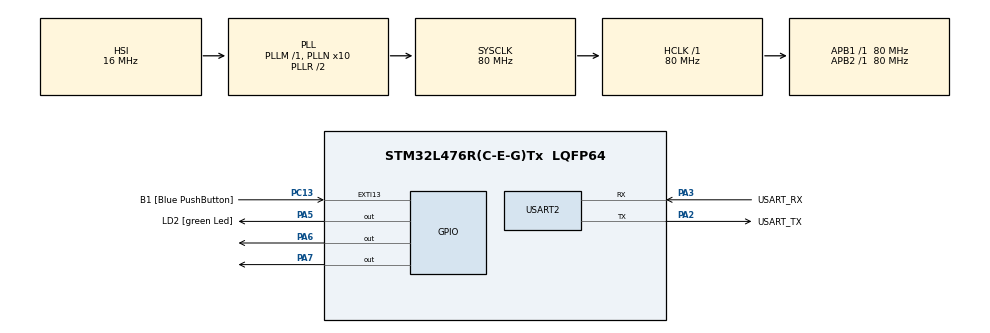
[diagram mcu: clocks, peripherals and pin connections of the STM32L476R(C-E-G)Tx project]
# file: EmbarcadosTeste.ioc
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Mcu.Family=STM32L4
Mcu.Name=STM32L476R(C-E-G)Tx
Mcu.Package=LQFP64
NVIC.PriorityGroup=NVIC_PRIORITYGROUP_4
PA13\ (JTMS-SWDIO).GPIO_Label=TMS
PA13\ (JTMS-SWDIO).Mode=Serial_Wire
PA13\ (JTMS-SWDIO).Signal=SYS_JTMS-SWDIO
PA14\ (JTCK-SWCLK).GPIO_Label=TCK
PA14\ (JTCK-SWCLK).Mode=Serial_Wire
PA14\ (JTCK-SWCLK).Signal=SYS_JTCK-SWCLK
PA2.GPIO_Label=USART_TX
PA2.GPIO_Mode=GPIO_MODE_AF_PP
PA2.GPIO_PuPd=GPIO_NOPULL
PA2.GPIO_Speed=GPIO_SPEED_FREQ_VERY_HIGH
PA2.Mode=Asynchronous
PA2.Signal=USART2_TX
PA3.GPIO_Label=USART_RX
PA3.GPIO_Mode=GPIO_MODE_AF_PP
PA3.GPIO_PuPd=GPIO_NOPULL
PA3.GPIO_Speed=GPIO_SPEED_FREQ_VERY_HIGH
PA3.Mode=Asynchronous
PA3.Signal=USART2_RX
PA5.GPIO_Label=LD2 [green Led]
PA5.GPIO_ModeDefaultOutputPP=GPIO_MODE_OUTPUT_PP
PA5.GPIO_PuPd=GPIO_NOPULL
PA5.GPIO_Speed=GPIO_SPEED_FREQ_LOW
PA5.Signal=GPIO_Output
PA6.Signal=GPIO_Output
PA7.Signal=GPIO_Output
PB3\ (JTDO-TRACESWO).GPIO_Label=SWO
PB3\ (JTDO-TRACESWO).Signal=SYS_JTDO-SWO
PC13.GPIO_Label=B1 [Blue PushButton]
PC13.GPIO_ModeDefaultEXTI=GPIO_MODE_IT_FALLING
PC13.GPIO_PuPd=GPIO_NOPULL
PC13.Signal=GPXTI13
PC14-OSC32_IN\ (PC14).Mode=LSE-External-Oscillator
PC14-OSC32_IN\ (PC14).Signal=RCC_OSC32_IN
PC15-OSC32_OUT\ (PC15).Mode=LSE-External-Oscillator
PC15-OSC32_OUT\ (PC15).Signal=RCC_OSC32_OUT
PH0-OSC_IN\ (PH0).Signal=RCC_OSC_IN
PH1-OSC_OUT\ (PH1).Signal=RCC_OSC_OUT
ProjectManager.HeapSize=0x200
ProjectManager.StackSize=0x400
ProjectManager.TargetToolchain=STM32CubeIDE
RCC.ADCFreq_Value=64000000
RCC.AHBFreq_Value=80000000
RCC.APB1Freq_Value=80000000
RCC.APB1TimFreq_Value=80000000
RCC.APB2Freq_Value=80000000
RCC.APB2TimFreq_Value=80000000
RCC.CortexFreq_Value=80000000
RCC.HCLKFreq_Value=80000000
RCC.HSE_VALUE=8000000
RCC.HSI_VALUE=16000000
RCC.MSI_VALUE=4000000
RCC.PLLN=10
RCC.PLLSourceVirtual=RCC_PLLSOURCE_HSI
RCC.PREFETCH_ENABLE=1
RCC.SYSCLKFreq_VALUE=80000000
RCC.SYSCLKSource=RCC_SYSCLKSOURCE_PLLCLK
RCC.USBFreq_Value=64000000
RCC.VCOOutputFreq_Value=160000000
USART2.VirtualMode-Asynchronous=VM_ASYNC
board=NUCLEO-L476RG

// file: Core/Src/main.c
/* USER CODE BEGIN Header */
/**
  ******************************************************************************
  * @file           : main.c
  * @brief          : Main program body
  ******************************************************************************
  * @attention
  *
  * Copyright (c) 2024 STMicroelectronics.
  * All rights reserved.
  *
  * This software is licensed under terms that can be found in the LICENSE file
  * in the root directory of this software component.
  * If no LICENSE file comes with this software, it is provided AS-IS.
  *
  ******************************************************************************
  */
/* USER CODE END Header */
#include "main.h"

UART_HandleTypeDef huart2;

void SystemClock_Config(void);
static void MX_GPIO_Init(void);
static void MX_USART2_UART_Init(void);

int main(void)
{

  /* MCU Configuration--------------------------------------------------------*/

  /* Reset of all peripherals, Initializes the Flash interface and the Systick. */
  HAL_Init();

  /* Configure the system clock */
  SystemClock_Config();

  /* Initialize all configured peripherals */
  MX_GPIO_Init();
  MX_USART2_UART_Init();

  /* Infinite loop */
  /* USER CODE BEGIN WHILE */
  while (1)
  {
	  char recebido;
	  if (HAL_UART_Receive(&huart2, &recebido, 1 , HAL_MAX_DELAY) ==HAL_OK)
	  {
		  switch(recebido){
		  case 'V':
		  case 'v':
			  HAL_GPIO_TogglePin(LD2_GPIO_Port, LD2_Pin);
			  HAL_UART_Transmit(&huart2, "led green Toggle\n\r", sizeof("led green Toggle\n\r"),HAL_MAX_DELAY);
			  break;
		  case 'Y':
		  case 'y':
			  HAL_GPIO_TogglePin(GPIOA, GPIO_PIN_6);
			  HAL_UART_Transmit(&huart2, "led yellow Toggle\n\r", sizeof("led yellow Toggle\n\r"),HAL_MAX_DELAY);
			  break;
		  case 'R':
		  case 'r':
			  if(!HAL_GPIO_ReadPin(B1_GPIO_Port, B1_Pin)){
			  	  HAL_UART_Transmit(&huart2, "B1 press\n\r", sizeof("B1 press\n\r"),HAL_MAX_DELAY);
			  	  break;
			  }else{
				  HAL_UART_Transmit(&huart2, "B1 not press\n\r", sizeof("B1 not press\n\r"),HAL_MAX_DELAY);
			  }
			  break;
		  default:
			  HAL_UART_Transmit(&huart2, "Invalid\n\r", sizeof("Invalid\n\r"),HAL_MAX_DELAY);

		  }
	  }

    /* USER CODE END WHILE */

  }
}

void SystemClock_Config(void)
{
  RCC_OscInitTypeDef RCC_OscInitStruct = {0};
  RCC_ClkInitTypeDef RCC_ClkInitStruct = {0};

  /** Configure the main internal regulator output voltage
  */
  if (HAL_PWREx_ControlVoltageScaling(PWR_REGULATOR_VOLTAGE_SCALE1) != HAL_OK)
  {
    Error_Handler();
  }

  /** Initializes the RCC Oscillators according to the specified parameters
  * in the RCC_OscInitTypeDef structure.
  */
  RCC_OscInitStruct.OscillatorType = RCC_OSCILLATORTYPE_HSI;
  RCC_OscInitStruct.HSIState = RCC_HSI_ON;
  RCC_OscInitStruct.HSICalibrationValue = RCC_HSICALIBRATION_DEFAULT;
  RCC_OscInitStruct.PLL.PLLState = RCC_PLL_ON;
  RCC_OscInitStruct.PLL.PLLSource = RCC_PLLSOURCE_HSI;
  RCC_OscInitStruct.PLL.PLLM = 1;
  RCC_OscInitStruct.PLL.PLLN = 10;
  RCC_OscInitStruct.PLL.PLLP = RCC_PLLP_DIV7;
  RCC_OscInitStruct.PLL.PLLQ = RCC_PLLQ_DIV2;
  RCC_OscInitStruct.PLL.PLLR = RCC_PLLR_DIV2;
  if (HAL_RCC_OscConfig(&RCC_OscInitStruct) != HAL_OK)
  {
    Error_Handler();
  }

  /** Initializes the CPU, AHB and APB buses clocks
  */
  RCC_ClkInitStruct.ClockType = RCC_CLOCKTYPE_HCLK|RCC_CLOCKTYPE_SYSCLK
                              |RCC_CLOCKTYPE_PCLK1|RCC_CLOCKTYPE_PCLK2;
  RCC_ClkInitStruct.SYSCLKSource = RCC_SYSCLKSOURCE_PLLCLK;
  RCC_ClkInitStruct.AHBCLKDivider = RCC_SYSCLK_DIV1;
  RCC_ClkInitStruct.APB1CLKDivider = RCC_HCLK_DIV1;
  RCC_ClkInitStruct.APB2CLKDivider = RCC_HCLK_DIV1;

  if (HAL_RCC_ClockConfig(&RCC_ClkInitStruct, FLASH_LATENCY_4) != HAL_OK)
  {
    Error_Handler();
  }
}

static void MX_USART2_UART_Init(void)
{

  huart2.Instance = USART2;
  huart2.Init.BaudRate = 115200;
  huart2.Init.WordLength = UART_WORDLENGTH_8B;
  huart2.Init.StopBits = UART_STOPBITS_1;
  huart2.Init.Parity = UART_PARITY_NONE;
  huart2.Init.Mode = UART_MODE_TX_RX;
  huart2.Init.HwFlowCtl = UART_HWCONTROL_NONE;
  huart2.Init.OverSampling = UART_OVERSAMPLING_16;
  huart2.Init.OneBitSampling = UART_ONE_BIT_SAMPLE_DISABLE;
  huart2.AdvancedInit.AdvFeatureInit = UART_ADVFEATURE_NO_INIT;
  if (HAL_UART_Init(&huart2) != HAL_OK)
  {
    Error_Handler();
  }

}

static void MX_GPIO_Init(void)
{
  GPIO_InitTypeDef GPIO_InitStruct = {0};

  /* GPIO Ports Clock Enable */
  __HAL_RCC_GPIOC_CLK_ENABLE();
  __HAL_RCC_GPIOH_CLK_ENABLE();
  __HAL_RCC_GPIOA_CLK_ENABLE();
  __HAL_RCC_GPIOB_CLK_ENABLE();

  /*Configure GPIO pin Output Level */
  HAL_GPIO_WritePin(GPIOA, LD2_Pin|GPIO_PIN_6|GPIO_PIN_7, GPIO_PIN_RESET);

  /*Configure GPIO pin : B1_Pin */
  GPIO_InitStruct.Pin = B1_Pin;
  GPIO_InitStruct.Mode = GPIO_MODE_IT_FALLING;
  GPIO_InitStruct.Pull = GPIO_NOPULL;
  HAL_GPIO_Init(B1_GPIO_Port, &GPIO_InitStruct);

  /*Configure GPIO pins : LD2_Pin PA6 PA7 */
  GPIO_InitStruct.Pin = LD2_Pin|GPIO_PIN_6|GPIO_PIN_7;
  GPIO_InitStruct.Mode = GPIO_MODE_OUTPUT_PP;
  GPIO_InitStruct.Pull = GPIO_NOPULL;
  GPIO_InitStruct.Speed = GPIO_SPEED_FREQ_LOW;
  HAL_GPIO_Init(GPIOA, &GPIO_InitStruct);

}

void Error_Handler(void)
{
  __disable_irq();
  while (1)
  {
  }
}
